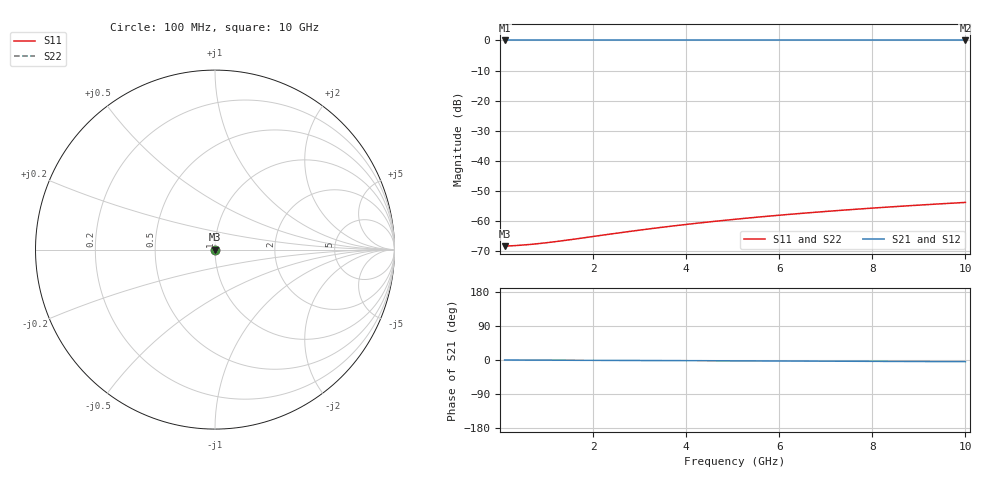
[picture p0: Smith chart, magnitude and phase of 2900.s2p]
# Hz S RI R 50.00
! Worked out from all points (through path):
!   100 points, 100 MHz to 10 GHz, reference 50 ohm
!   highest |S21| = 0.00 dB at 100 MHz (marker M1); lowest = 0.0 dB at 10 GHz (marker M2)
!   lowest |S11| = -68.4 dB at 100 MHz (marker M3), VSWR 1.00, Z = 50 - j0.00196 ohm
!   |S11| at or under -10 dB: start of sweep to end of sweep
!   |S22| runs from -68.4 to -53.9 dB; largest |S21 - S12| = 0
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1e8  0.00038 -1.95e-05  0.9996 -0.000763  0.9996 -0.000763  0.00038 -1.95e-05
3e8  0.000384 -5.86e-05  0.9996 -0.00229  0.9996 -0.00229  0.000384 -5.86e-05
5e8  0.000385 -9.78e-05  0.9996 -0.00382  0.9996 -0.00382  0.000385 -9.78e-05
8e8  0.000387 -0.000157  0.9996 -0.00611  0.9996 -0.00611  0.000387 -0.000157
1e9  0.000387 -0.000196  0.9996 -0.00764  0.9996 -0.00764  0.000387 -0.000196
1.2e9  0.000388 -0.000235  0.9996 -0.00916  0.9996 -0.00916  0.000388 -0.000235
1.5e9  0.000387 -0.000294  0.9995 -0.0115  0.9995 -0.0115  0.000387 -0.000294
1.8e9  0.000387 -0.000353  0.9995 -0.0137  0.9995 -0.0137  0.000387 -0.000353
2.7e9  0.000382 -0.000531  0.9994 -0.0206  0.9994 -0.0206  0.000382 -0.000531
3.1e9  0.00038 -0.000611  0.9993 -0.0237  0.9993 -0.0237  0.00038 -0.000611
3.4e9  0.000377 -0.000671  0.9992 -0.026  0.9992 -0.026  0.000377 -0.000671
3.8e9  0.000373 -0.000751  0.9992 -0.029  0.9992 -0.029  0.000373 -0.000751
4.2e9  0.000369 -0.000831  0.9991 -0.0321  0.9991 -0.0321  0.000369 -0.000831
4.6e9  0.000364 -0.000912  0.999 -0.0352  0.999 -0.0352  0.000364 -0.000912
5.1e9  0.000357 -0.00101  0.9988 -0.039  0.9988 -0.039  0.000357 -0.00101
5.5e9  0.00035 -0.00109  0.9987 -0.042  0.9987 -0.042  0.00035 -0.00109
5.9e9  0.000344 -0.00118  0.9985 -0.0451  0.9985 -0.0451  0.000344 -0.00118
6.7e9  0.000329 -0.00134  0.9982 -0.0512  0.9982 -0.0512  0.000329 -0.00134
7.5e9  0.000312 -0.0015  0.9979 -0.0574  0.9979 -0.0574  0.000312 -0.0015
8.4e9  0.00029 -0.00169  0.9975 -0.0643  0.9975 -0.0643  0.00029 -0.00169
9.2e9  0.000269 -0.00185  0.997 -0.0704  0.997 -0.0704  0.000269 -0.00185
1e10  0.000246 -0.00201  0.9966 -0.0766  0.9966 -0.0766  0.000246 -0.00201
